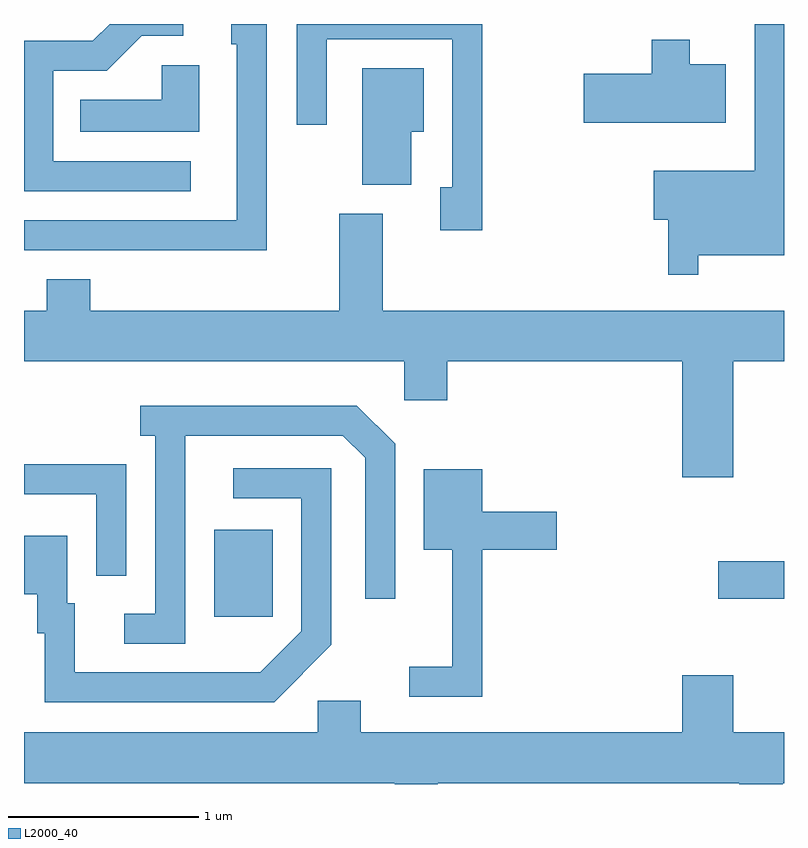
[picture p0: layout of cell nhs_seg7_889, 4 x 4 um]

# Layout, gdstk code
import gdstk
lib = gdstk.Library(unit=1e-6, precision=1e-09)
def R(c, l, rs):  # rectangles x0, y0, x1, y1
    for r in rs: c.add(gdstk.rectangle(r[:2], r[2:], *l))
def P(c, l, *ps):  # polygons
    for p in ps: c.add(gdstk.Polygon(p, *l))
L2000_40 = (2000, 40)

nhs_seg7_889 = lib.new_cell('nhs_seg7_889')
R(nhs_seg7_889, L2000_40, [(212.611,1775.131,212.919,1775.589), (215.266,1775.226,215.611,1775.424)])
P(nhs_seg7_889, L2000_40, [(214.024,1778.252),(213.046,1778.252),(213.046,1777.723),(213.204,1777.723),(213.204,1778.171),(213.866,1778.171),(213.866,1777.394),(213.801,1777.394),(213.801,1777.166),(214.024,1777.166)],
  [(215.159,1777.036),(215.611,1777.036),(215.611,1778.252),(215.456,1778.252),(215.456,1777.479),(214.926,1777.479),(214.926,1777.221),(215.001,1777.221),(215.001,1776.933),(215.159,1776.933)],
  [(212.488,1777.529),(211.764,1777.529),(211.764,1778.006),(212.047,1778.006),(212.232,1778.191),(212.448,1778.191),(212.448,1778.252),(212.062,1778.252),(211.974,1778.164),(211.611,1778.164),(211.611,1777.371),(212.488,1777.371)],
  [(212.889,1778.252),(212.701,1778.252),(212.701,1778.146),(212.731,1778.146),(212.731,1777.219),(211.611,1777.219),(211.611,1777.061),(212.889,1777.061)],
  [(215.304,1778.039),(215.114,1778.039),(215.114,1778.169),(214.916,1778.169),(214.916,1777.989),(214.556,1777.989),(214.556,1777.731),(215.304,1777.731)],
  [(212.534,1778.034),(212.336,1778.034),(212.336,1777.854),(211.908,1777.854),(211.908,1777.686),(212.534,1777.686)],
  [(213.649,1777.686),(213.714,1777.686),(213.714,1778.019),(213.391,1778.019),(213.391,1777.406),(213.649,1777.406)],
  [(215.344,1776.476),(215.611,1776.476),(215.611,1776.744),(213.499,1776.744),(213.499,1777.254),(213.271,1777.254),(213.271,1776.744),(211.959,1776.744),(211.959,1776.909),(211.731,1776.909),(211.731,1776.744),(211.611,1776.744),(211.611,1776.476),(213.611,1776.476),(213.611,1776.271),(213.839,1776.271),(213.839,1776.476),(215.076,1776.476),(215.076,1775.866),(215.344,1775.866)],
  [(212.459,1776.086),(213.289,1776.086),(213.406,1775.969),(213.406,1775.228),(213.564,1775.228),(213.564,1776.042),(213.362,1776.244),(212.223,1776.244),(212.223,1776.086),(212.301,1776.086),(212.301,1775.149),(212.138,1775.149),(212.138,1774.991),(212.459,1774.991)],
  [(212.149,1775.934),(211.611,1775.934),(211.611,1775.776),(211.991,1775.776),(211.991,1775.348),(212.149,1775.348)],
  [(213.229,1774.984),(213.229,1775.914),(212.713,1775.914),(212.713,1775.756),(213.071,1775.756),(213.071,1775.057),(212.854,1774.839),(211.879,1774.839),(211.879,1775.204),(211.839,1775.204),(211.839,1775.559),(211.611,1775.559),(211.611,1775.251),(211.681,1775.251),(211.681,1775.046),(211.721,1775.046),(211.721,1774.681),(212.927,1774.681)],
  [(214.024,1775.486),(214.414,1775.486),(214.414,1775.684),(214.024,1775.684),(214.024,1775.909),(213.716,1775.909),(213.716,1775.486),(213.866,1775.486),(213.866,1774.869),(213.638,1774.869),(213.638,1774.711),(214.024,1774.711)],
  [(213.789,1774.256),(215.376,1774.256),(215.376,1774.252),(215.604,1774.252),(215.604,1774.256),(215.611,1774.256),(215.611,1774.524),(215.344,1774.524),(215.344,1774.824),(215.076,1774.824),(215.076,1774.524),(213.384,1774.524),(213.384,1774.689),(213.156,1774.689),(213.156,1774.524),(211.611,1774.524),(211.611,1774.256),(213.561,1774.256),(213.561,1774.252),(213.789,1774.252)])

lib.write_gds('nhs_seg7_889.gds')
